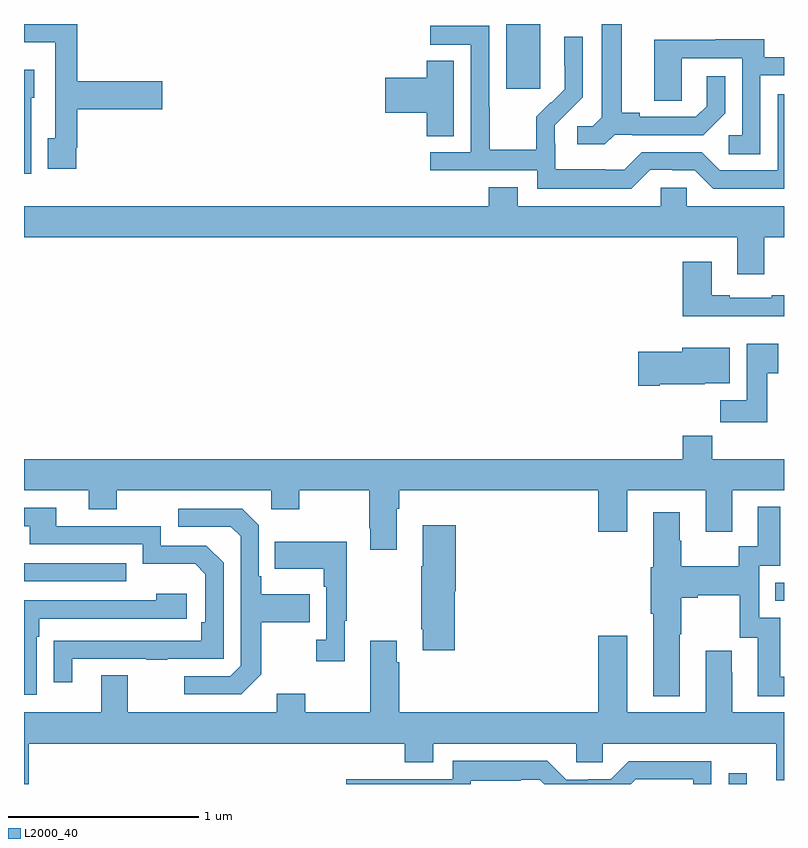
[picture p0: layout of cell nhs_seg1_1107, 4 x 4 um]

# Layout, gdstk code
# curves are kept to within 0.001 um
import gdstk
lib = gdstk.Library(unit=1e-6, precision=1e-09)
def R(c, l, rs):  # rectangles x0, y0, x1, y1
    for r in rs: c.add(gdstk.rectangle(r[:2], r[2:], *l))
def P(c, l, *ps):  # polygons
    for p in ps: c.add(gdstk.Polygon(p, *l))
L2000_40 = (2000, 40)

nhs_seg1_1107 = lib.new_cell('nhs_seg1_1107')
R(nhs_seg1_1107, L2000_40, [(174.709,538.199,174.805,538.255), (174.955,539.163,175,539.259), (171,539.265,171.539,539.361), (173.537,541.857,173.716,542.199)])
P(nhs_seg1_1107, L2000_40, [(171.274,541.549),(171.281,541.549),(171.281,541.751),(171.727,541.751),(171.727,541.898),(171.281,541.898),(171.281,542.199),(171,542.199),(171,542.102),(171.165,542.102),(171.165,541.598),(171.125,541.598),(171.125,541.437),(171.274,541.437)],
  [(174.108,541.617),(174.202,541.617),(174.202,541.614),(174.574,541.614),(174.69,541.73),(174.69,541.924),(174.593,541.924),(174.593,541.767),(174.536,541.71),(174.241,541.71),(174.241,541.733),(174.145,541.733),(174.145,542.199),(174.041,542.199),(174.041,541.709),(173.994,541.662),(173.913,541.662),(173.913,541.565),(174.056,541.565)],
  [(174.297,541.431),(174.413,541.431),(174.413,541.428),(174.531,541.428),(174.627,541.332),(175,541.332),(175,541.83),(174.966,541.83),(174.966,541.428),(174.663,541.428),(174.567,541.524),(174.252,541.524),(174.159,541.431),(174.059,541.431),(174.059,541.435),(173.796,541.435),(173.796,541.569),(173.794,541.569),(173.794,541.666),(173.94,541.814),(173.94,542.132),(173.844,542.132),(173.844,541.978),(173.846,541.978),(173.846,541.856),(173.775,541.785),(173.772,541.788),(173.695,541.711),(173.695,541.537),(173.451,541.537),(173.451,541.76),(173.448,541.76),(173.448,542.19),(173.139,542.19),(173.139,542.091),(173.352,542.091),(173.352,541.524),(173.139,541.524),(173.139,541.428),(173.7,541.428),(173.7,541.331),(174.197,541.331)],
  [(174.876,541.929),(175,541.929),(175,542.025),(174.895,542.025),(174.895,542.119),(174.641,542.119),(174.641,542.115),(174.317,542.115),(174.317,541.795),(174.462,541.795),(174.462,542.019),(174.78,542.019),(174.78,541.614),(174.708,541.614),(174.708,541.513),(174.876,541.513)],
  [(173.263,542.006),(173.12,542.006),(173.12,541.916),(172.902,541.916),(172.902,541.733),(173.12,541.733),(173.12,541.609),(173.263,541.609)],
  [(171.037,541.812),(171.055,541.812),(171.055,541.957),(171,541.957),(171,541.412),(171.037,541.412)],
  [(174.895,541.076),(175,541.076),(175,541.24),(174.489,541.24),(174.489,541.338),(174.351,541.338),(174.351,541.24),(173.599,541.24),(173.599,541.339),(173.447,541.339),(173.447,541.24),(171,541.24),(171,541.076),(174.755,541.076),(174.755,540.882),(174.895,540.882)],
  [(175,540.772),(174.935,540.772),(174.935,540.759),(174.715,540.759),(174.715,540.772),(174.619,540.772),(174.619,540.949),(174.467,540.949),(174.467,540.662),(175,540.662)],
  [(174.913,540.361),(174.97,540.361),(174.97,540.517),(174.803,540.517),(174.803,540.22),(174.664,540.22),(174.664,540.102),(174.913,540.102)],
  [(174.346,540.302),(174.582,540.302),(174.582,540.308),(174.715,540.308),(174.715,540.496),(174.464,540.496),(174.464,540.473),(174.234,540.473),(174.234,540.295),(174.346,540.295)],
  [(172.963,539.648),(172.976,539.648),(172.976,539.744),(174.023,539.744),(174.023,539.526),(174.175,539.526),(174.175,539.744),(174.587,539.744),(174.587,539.526),(174.727,539.526),(174.727,539.744),(175,539.744),(175,539.908),(174.623,539.908),(174.623,540.032),(174.467,540.032),(174.467,539.908),(171,539.908),(171,539.744),(171.341,539.744),(171.341,539.645),(171.489,539.645),(171.489,539.744),(172.302,539.744),(172.302,539.645),(172.449,539.645),(172.449,539.744),(172.816,539.744),(172.816,539.545),(172.823,539.545),(172.823,539.433),(172.963,539.433)],
  [(174.451,538.987),(174.459,538.987),(174.459,539.18),(174.547,539.18),(174.547,539.192),(174.767,539.192),(174.767,538.968),(174.863,538.968),(174.863,538.662),(175,538.662),(175,538.764),(174.979,538.764),(174.979,539.073),(174.87,539.073),(174.87,539.349),(174.979,539.349),(174.979,539.659),(174.863,539.659),(174.863,539.45),(174.762,539.45),(174.762,539.344),(174.459,539.344),(174.459,539.478),(174.451,539.478),(174.451,539.629),(174.311,539.629),(174.311,539.34),(174.299,539.34),(174.299,539.096),(174.311,539.096),(174.311,538.661),(174.451,538.661)],
  [(171.253,538.857),(171.643,538.857),(171.643,538.852),(171.755,538.852),(171.755,538.857),(172.05,538.857),(172.05,539.364),(171.96,539.454),(171.72,539.454),(171.72,539.556),(171.169,539.556),(171.169,539.652),(171,539.652),(171,539.556),(171.029,539.556),(171.029,539.46),(171.624,539.46),(171.624,539.357),(171.901,539.357),(171.954,539.304),(171.954,539.05),(171.934,539.05),(171.934,538.953),(171.157,538.952),(171.157,538.734),(171.253,538.734)],
  [(172.249,538.777),(172.249,539.05),(172.505,539.05),(172.505,539.197),(172.249,539.197),(172.249,539.293),(172.236,539.293),(172.236,539.562),(172.149,539.649),(171.813,539.649),(171.813,539.553),(172.089,539.553),(172.14,539.502),(172.14,538.821),(172.086,538.767),(171.843,538.767),(171.843,538.671),(172.143,538.671)],
  [(173.267,539.214),(173.272,539.214),(173.272,539.56),(173.099,539.56),(173.099,539.345),(173.092,539.345),(173.092,539.014),(173.099,539.014),(173.099,538.902),(173.267,538.902)],
  [(172.687,539.057),(172.699,539.057),(172.699,539.473),(172.321,539.473),(172.321,539.333),(172.578,539.333),(172.578,539.237),(172.59,539.237),(172.59,538.958),(172.539,538.958),(172.539,538.845),(172.687,538.845)],
  [(171.066,538.973),(171.079,538.973),(171.079,539.07),(171.856,539.07),(171.856,539.2),(171.695,539.2),(171.695,539.166),(171,539.166),(171,538.668),(171.066,538.668)],
  [(171.026,538.412),(173.003,538.412),(173.003,538.313),(173.155,538.313),(173.155,538.412),(173.907,538.412),(173.907,538.314),(174.045,538.314),(174.045,538.412),(174.959,538.412),(174.959,538.218),(175,538.218),(175,538.576),(174.727,538.576),(174.727,538.787),(174.724,538.787),(174.724,538.9),(174.587,538.9),(174.587,538.576),(174.175,538.576),(174.175,538.978),(174.023,538.978),(174.023,538.576),(172.976,538.576),(172.976,538.841),(172.963,538.841),(172.963,538.954),(172.823,538.954),(172.823,538.576),(172.479,538.576),(172.479,538.675),(172.331,538.675),(172.331,538.576),(171.547,538.576),(171.547,538.771),(171.407,538.771),(171.407,538.576),(171,538.576),(171,538.199),(171.026,538.199)],
  [(173.352,538.217),(173.615,538.217),(173.615,538.221),(173.715,538.221),(173.737,538.199),(174.194,538.199),(174.219,538.224),(174.522,538.224),(174.522,538.199),(174.618,538.199),(174.618,538.32),(174.183,538.32),(174.087,538.224),(173.969,538.224),(173.969,538.221),(173.853,538.221),(173.753,538.321),(173.256,538.321),(173.256,538.224),(172.695,538.224),(172.695,538.199),(173.352,538.199)])

lib.write_gds('nhs_seg1_1107.gds')
